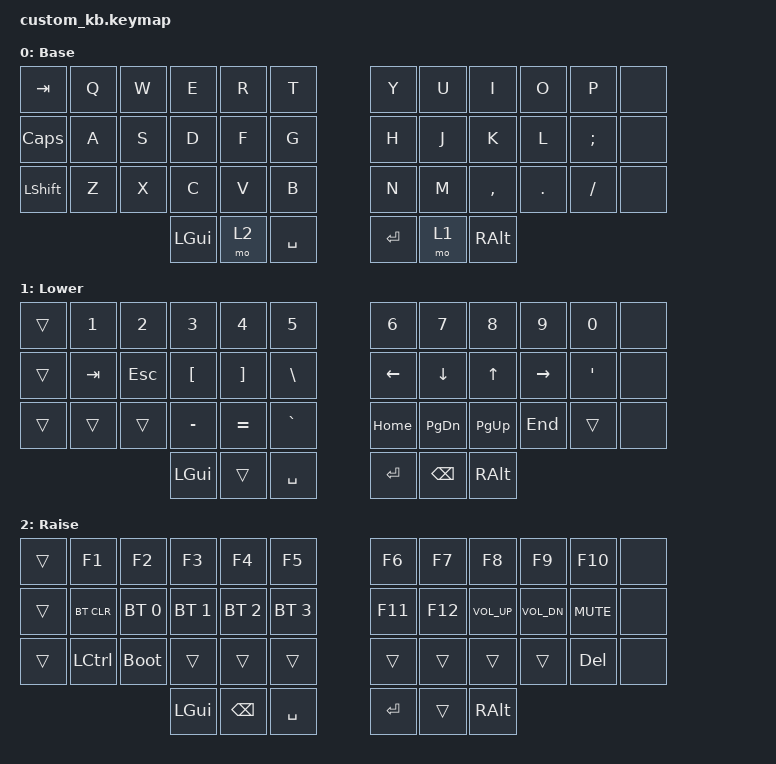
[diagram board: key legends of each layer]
/*
 * Copyright (c) 2020 The ZMK Contributors
 *
 * SPDX-License-Identifier: MIT
 */

#include <behaviors.dtsi>
#include <dt-bindings/zmk/keys.h>
#include <dt-bindings/zmk/bt.h>

/ {


        keymap {
                compatible = "zmk,keymap";

                default_layer {
                        display-name = "Base";
// -----------------------------------------------------------------------------------------
// | TAB |  Q  |  W  |  E  |  R  |  T  |   |  Y  |  U   |  I  |  O  |  P  |  ?  |
// | CAPS|  A  |  S  |  D  |  F  |  G  |   |  H  |  J   |  K  |  L  |  ;  |  ?  |
// | SHFT|  Z  |  X  |  C  |  V  |  B  |   |  N  |  M   |  ,  |  .  |  /  |  ?  |
//                   | GUI | RSE | SPC |   | ENT | LWR  | ALT |
						bindings = <
   &kp TAB &kp Q &kp W &kp E &kp R &kp T         &kp Y &kp U  &kp I     &kp O   &kp P &none
   &kp CAPSLOCK &kp A &kp S &kp D &kp F &kp G   &kp H &kp J  &kp K     &kp L   &kp SEMI &none
   &kp LSHFT &kp Z &kp X &kp C &kp V &kp B      &kp N &kp M  &kp COMMA &kp DOT &kp FSLH &none
                  &kp LGUI &mo 2 &kp SPACE      &kp RET &mo 1 &kp RALT
						>;
                };
                lower_layer {
                        display-name = "Lower";
// -----------------------------------------------------------------------------------------
// |     |  1  |  2  |  3  |  4  |  5  |   |  6  |  7   |  8  |  9  |  0  |  ?  |
// |     | TAB | ESC |  [  |  ]  | \ | |   | LFT | DWN  | UP  | RGT |  '  |  ?  |
// |     | SHFT|     |  -  |  =  | GRV |   | HOME| PGDN | PGUP| END | SHFT|  ?  |
//                   | GUI | RSE | SPC |   | ENT | BSPC | ALT |
                        bindings = <
   &trans &kp N1    &kp N2   &kp N3    &kp N4    &kp N5       &kp N6   &kp N7    &kp N8    &kp N9    &kp N0 &none
   &trans &kp TAB   &kp ESC  &kp LBKT  &kp RBKT  &kp BSLH     &kp LEFT &kp DOWN  &kp UP    &kp RIGHT &kp SQT &none
   &trans &trans    &trans   &kp MINUS &kp EQUAL &kp GRAVE    &kp HOME &kp PG_DN &kp PG_UP &kp END   &trans &none
                                 &kp LGUI &trans &kp SPACE    &kp RET &kp BSPC &kp RALT
                        >;
                };

                raise_layer {
                        display-name = "Raise";
// -----------------------------------------------------------------------------------------
// |      |  F1  |  F2  |  F3  |  F4  |  F5  |   |  F6  |  F7  |  F8  |  F9  | F10 |  ?   |
// |      | BTCLR| BT1  | BT2  | BT3  | BT4  |   | F11  | F12  |VOLUP |VOLDN |MUTE |  ?   |
// |      | CTRL |      |      |      |      |   |      |      |      |      | DEL |  ?   |
//                      | GUI  | BSPC | SPC  |   | ENT  | LWR  | ALT  |
                        bindings = <
   &trans &kp F1       &kp F2       &kp F3       &kp F4       &kp F5           &kp F6   &kp F7   &kp F8       &kp F9       &kp F10 &none
   &trans &bt BT_CLR   &bt BT_SEL 0 &bt BT_SEL 1 &bt BT_SEL 2 &bt BT_SEL 3     &kp F11  &kp F12  &kp C_VOL_UP &kp C_VOL_DN &kp C_MUTE &none
   &trans &kp LCTRL    &bootloader  &trans       &trans       &trans           &trans   &trans   &trans       &trans       &kp DEL &none
                                            &kp LGUI &kp BSPC &kp SPACE        &kp RET &trans &kp RALT
                        >;
                };
        };
};
